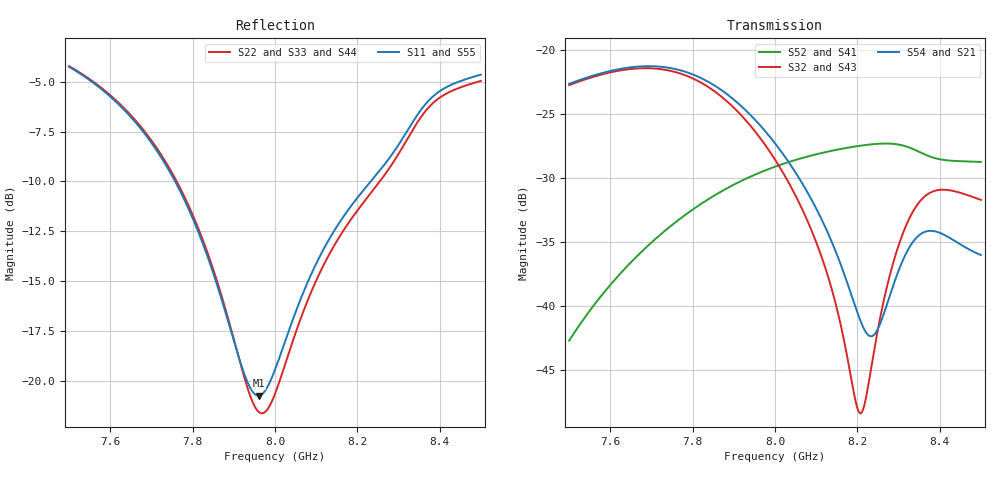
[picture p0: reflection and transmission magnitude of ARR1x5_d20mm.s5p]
! Touchstone file exported from HFSS 2025.1.0
!  File:  C:/Users/user/Documents/Ansoft/TFG_UWB-MIMO-Array.aedt
!  Generated:  02:04:23 PM Nov 20, 2026
!  Design:  ARR1x5_US3_PS6_dparam
!  Project:  TFG_UWB-MIMO-Array
!  Setup:  Setup_ch9
!  Solution:  Sweep_7p5_8p5
! Variables:
!  arr_d = 20mm
!  board_m = 13mm
!  board_x = 106mm
!  board_y = 26mm
!  cu_t = 0.035mm
!  line_w = 3.92mm
!  pad_xy = 22mm
!  pad_zn = 25mm
!  pad_zp = 33mm
!  par_L = 7.05mm
!  par_W = 11mm
!  par_yc = 0.615mm
!  par_z = 1.035mm
!  patch_L = 6.29mm
!  patch_W = 11.421266mm
!  sub_h = 2.07mm
!  tr_l = 6.6mm
!  tr_w = 0.8mm
!  u_Lu = 2.65mm
!  u_Wu = 4.4mm
!  u_t = 0.8mm
!  u_y0 = -0.7mm
# GHz S MA R 50.000000
! Terminal data exported
! Port[1] = P1
! Port[2] = P2
! Port[3] = P3
! Port[4] = P4
! Port[5] = P5
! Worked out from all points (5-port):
!   1001 points, 7.5 GHz to 8.5 GHz, reference 50 ohm
!   strongest paths, dB at 7.5 GHz, 7.75 GHz, 8 GHz, 8.25 GHz, 8.5 GHz:
!     S54: -22.6, -21.4, -27.3, -41.7, -36.0
!     S21: -22.6, -21.4, -27.3, -42.0, -36.2
!     S32: -22.7, -21.6, -28.5, -41.8, -31.7
!     S43: -22.7, -21.6, -28.5, -41.6, -31.7
!     S52: -42.7, -33.6, -29.1, -27.3, -28.7
!     S41: -42.7, -33.7, -29.2, -27.4, -28.8
!   lowest |S11| = -20.7 dB at 7.96 GHz (marker M1), VSWR 1.20, Z = 59.6 - j3.14 ohm
!   |S11| at or under -10 dB: 7.757 GHz to 8.233 GHz (475.2 MHz wide, 5.94 % of centre)
